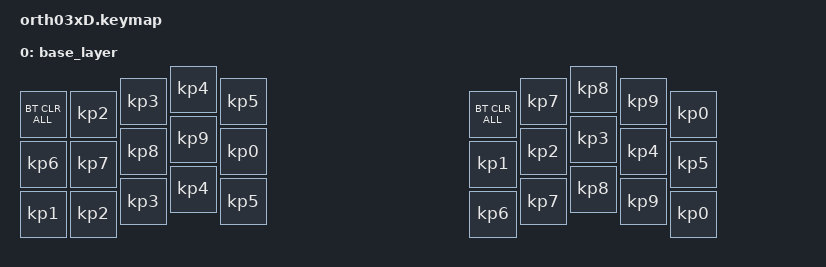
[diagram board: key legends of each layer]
#include <behaviors.dtsi>
#include <dt-bindings/zmk/keys.h>
#include <dt-bindings/zmk/bt.h>


/ {    
    
    keymap {
        compatible = "zmk,keymap";
            
        base_layer {
            display-name = "base_layer";
            bindings = < 
                &bt BT_CLR_ALL    &kp KP_N2    &kp KP_N3    &kp KP_N4    &kp KP_N5
                &kp KP_N6    &kp KP_N7    &kp KP_N8    &kp KP_N9    &kp KP_N0 
                &kp KP_N1    &kp KP_N2    &kp KP_N3    &kp KP_N4    &kp KP_N5
                
                &bt BT_CLR_ALL    &kp KP_N7    &kp KP_N8    &kp KP_N9    &kp KP_N0 
                &kp KP_N1    &kp KP_N2    &kp KP_N3    &kp KP_N4    &kp KP_N5
                &kp KP_N6    &kp KP_N7    &kp KP_N8    &kp KP_N9    &kp KP_N0   
            >;
        }; 
        
    };
};
